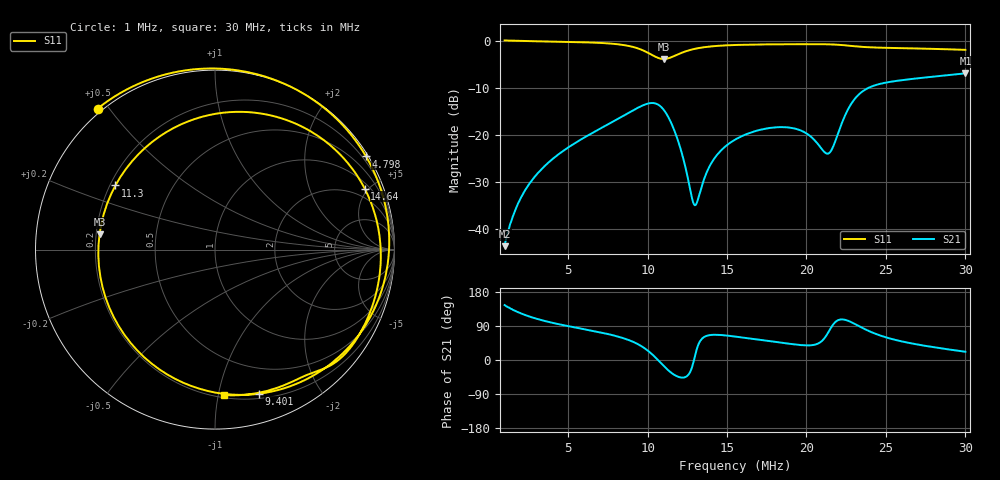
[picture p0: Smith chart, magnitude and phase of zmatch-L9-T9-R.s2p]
# HZ S RI R 50
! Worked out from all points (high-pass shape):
!   505 points, 1 MHz to 30 MHz, reference 50 ohm
!   highest |S21| = -6.82 dB at 30 MHz (marker M1); lowest = -43.6 dB at 1 MHz (marker M2)
!   |S21| within 3 dB of the highest: 23.96 MHz to end of sweep
!   lowest |S11| = -3.8 dB at 11.01 MHz (marker M3), VSWR 4.70, Z = 10.7 + j3.13 ohm
!   |S11| at or under -10 dB: nowhere
!   S12 and S22 are empty: the file has one direction only
!   S11 on the Smith chart (normalised r, x): 1 MHz: -0.01, +0.47; 4.798 MHz: 0.08, +3.53; 9.401 MHz: 0.24, -1.32; 11.3 MHz: 0.22, +0.28; 14.64 MHz: 1.32, +4.75; 30 MHz: 0.22, -1.04
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1000000  -0.6534 0.7861  -0.00538 0.00378  0 0  0 0
1748020  -0.2338 0.986  -0.0106 0.0135  0 0  0 0
2496040  0.1518 0.9944  -0.0127 0.0264  0 0  0 0
3589300  0.569 0.8193  -0.0103 0.047  0 0  0 0
4797640  0.8416 0.5189  -0.00139 0.0701  0 0  0 0
5833360  0.9524 0.228  0.0115 0.0899  0 0  0 0
7904800  0.8439 -0.4123  0.0616 0.1282  0 0  0 0
9400840  0.2467 -0.803  0.1472 0.1303  0 0  0 0
1.003378e7  -0.2225 -0.7199  0.1988 0.0886  0 0  0 0
1.066672e7  -0.6095 -0.2681  0.2116 -0.00251  0 0  0 0
1.101196e7  -0.6433 0.0847  0.1796 -0.0504  0 0  0 0
1.129966e7  -0.5547 0.3574  0.1392 -0.0714  0 0  0 0
1.204768e7  -0.0711 0.7403  0.0517 -0.0531  0 0  0 0
1.296832e7  0.444 0.704  0.0177 0.00266  0 0  0 0
1.463698e7  0.8339 0.3401  0.0283 0.0632  0 0  0 0
1.550008e7  0.8989 0.168  0.042 0.0791  0 0  0 0
1.8262e7  0.8963 -0.2483  0.0837 0.0884  0 0  0 0
2.033344e7  0.8021 -0.4768  0.0734 0.0595  0 0  0 0
2.14267e7  0.7253 -0.5808  0.0144 0.0629  0 0  0 0
2.309536e7  0.5701 -0.6766  -0.0171 0.2498  0 0  0 0
2.51668e7  0.4257 -0.738  0.1963 0.3111  0 0  0 0
3.000016e7  0.0512 -0.8105  0.4234 0.1692  0 0  0 0
